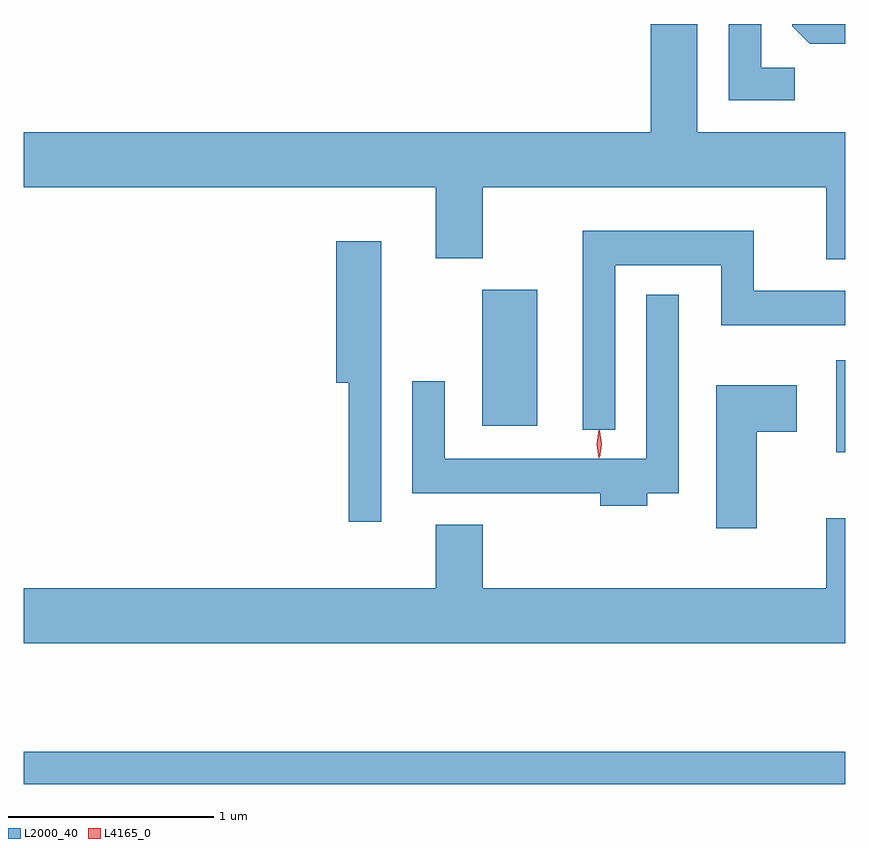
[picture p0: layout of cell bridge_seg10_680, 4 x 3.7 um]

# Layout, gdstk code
import gdstk
lib = gdstk.Library(unit=1e-6, precision=1e-09)
def R(c, l, rs):  # rectangles x0, y0, x1, y1
    for r in rs: c.add(gdstk.rectangle(r[:2], r[2:], *l))
def P(c, l, *ps):  # polygons
    for p in ps: c.add(gdstk.Polygon(p, *l))
L2000_40 = (2000, 40)
L4165_0 = (4165, 0)

bridge_seg10_680 = lib.new_cell('bridge_seg10_680')
R(bridge_seg10_680, L2000_40, [(961.914,2084.371,965.914,2084.529), (965.871,2085.986,965.914,2086.434), (964.146,2086.116,964.414,2086.779)])
P(bridge_seg10_680, L2000_40, [(965.914,2087.544),(965.194,2087.544),(965.194,2088.072),(964.966,2088.072),(964.966,2087.544),(961.914,2087.544),(961.914,2087.276),(963.921,2087.276),(963.921,2086.931),(964.149,2086.931),(964.149,2087.276),(965.821,2087.276),(965.821,2086.926),(965.914,2086.926)],
  [(965.914,2088.072),(965.656,2088.072),(965.656,2088.062),(965.742,2087.976),(965.914,2087.976)],
  [(965.668,2087.859),(965.504,2087.859),(965.504,2088.072),(965.346,2088.072),(965.346,2087.701),(965.668,2087.701)],
  [(964.794,2086.896),(965.311,2086.896),(965.311,2086.606),(965.914,2086.606),(965.914,2086.774),(965.469,2086.774),(965.469,2087.064),(964.636,2087.064),(964.636,2086.097),(964.794,2086.097)],
  [(963.654,2087.014),(963.436,2087.014),(963.436,2086.326),(963.496,2086.326),(963.496,2085.648),(963.654,2085.648)],
  [(964.949,2085.786),(965.104,2085.786),(965.104,2086.753),(964.946,2086.753),(964.946,2085.954),(963.964,2085.954),(963.964,2086.333),(963.806,2086.333),(963.806,2085.786),(964.721,2085.786),(964.721,2085.726),(964.949,2085.726)],
  [(965.484,2086.086),(965.679,2086.086),(965.679,2086.314),(965.286,2086.314),(965.286,2085.616),(965.484,2085.616)],
  [(965.914,2085.664),(965.821,2085.664),(965.821,2085.324),(964.149,2085.324),(964.149,2085.634),(963.921,2085.634),(963.921,2085.324),(961.914,2085.324),(961.914,2085.056),(965.914,2085.056)])
P(bridge_seg10_680, L4165_0, [(964.714,2085.957),(964.705,2086.026),(964.714,2086.096),(964.715,2086.096),(964.715,2086.096),(964.725,2086.026),(964.715,2085.957),(964.715,2085.957)],
  [(964.718,2085.959),(964.718,2085.96),(964.708,2086.026),(964.717,2086.092),(964.718,2086.093),(964.718,2086.092),(964.728,2086.026),(964.719,2085.96)])

lib.write_gds('bridge_seg10_680.gds')
